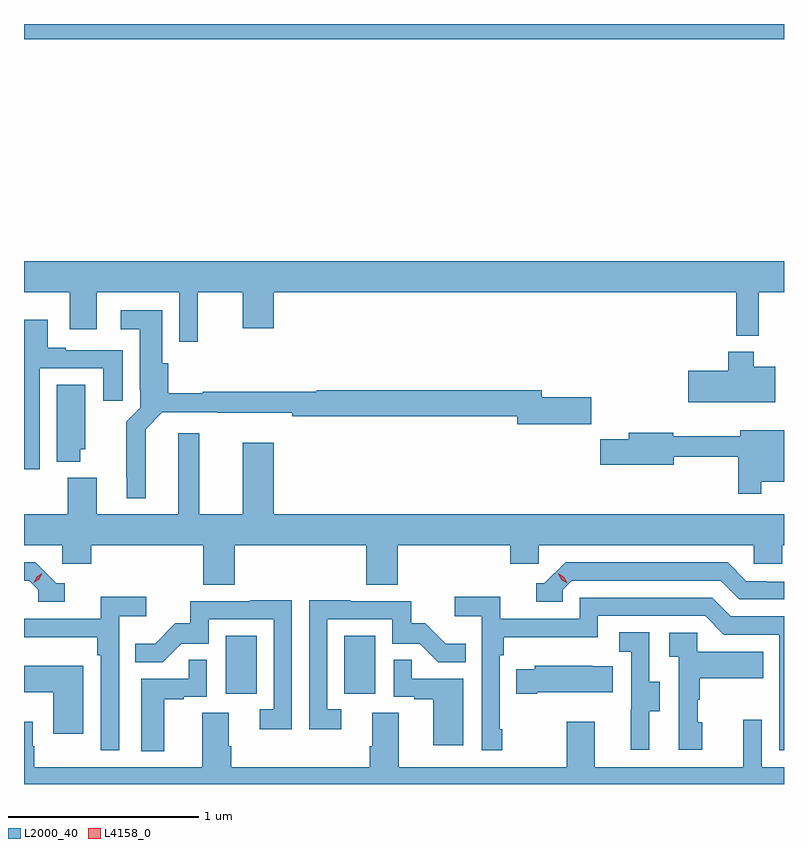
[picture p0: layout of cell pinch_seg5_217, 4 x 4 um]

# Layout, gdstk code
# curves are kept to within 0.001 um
import gdstk
lib = gdstk.Library(unit=1e-6, precision=1e-09)
def R(c, l, rs):  # rectangles x0, y0, x1, y1
    for r in rs: c.add(gdstk.rectangle(r[:2], r[2:], *l))
def P(c, l, *ps):  # polygons
    for p in ps: c.add(gdstk.Polygon(p, *l))
L2000_40 = (2000, 40)
L4158_0 = (4158, 0)

pinch_seg5_217 = lib.new_cell('pinch_seg5_217')
R(pinch_seg5_217, L2000_40, [(980.102,894.606,980.266,894.913), (980.726,894.606,980.89,894.913), (979.041,898.052,983.041,898.132)])
P(pinch_seg5_217, L2000_40, [(979.956,896.72),(980.192,896.72),(980.192,896.532),(980.356,896.532),(980.356,896.72),(982.789,896.72),(982.789,896.492),(982.907,896.492),(982.907,896.72),(983.041,896.72),(983.041,896.884),(979.041,896.884),(979.041,896.72),(979.283,896.72),(979.283,896.526),(979.423,896.526),(979.423,896.72),(979.857,896.72),(979.857,896.46),(979.956,896.46)],
  [(979.681,896),(979.768,896.088),(980.452,896.087),(980.452,896.068),(981.638,896.068),(981.638,896.026),(982.027,896.026),(982.027,896.168),(981.766,896.168),(981.766,896.204),(980.582,896.204),(980.582,896.197),(979.982,896.197),(979.982,896.189),(979.799,896.189),(979.799,896.346),(979.768,896.346),(979.768,896.626),(979.551,896.626),(979.551,896.525),(979.649,896.525),(979.649,896.206),(979.653,896.206),(979.653,896.112),(979.579,896.038),(979.579,895.747),(979.583,895.747),(979.583,895.637),(979.681,895.637)],
  [(979.123,896.319),(979.457,896.319),(979.457,896.148),(979.561,896.148),(979.561,896.415),(979.261,896.415),(979.261,896.428),(979.165,896.428),(979.165,896.575),(979.041,896.575),(979.041,895.788),(979.123,895.788)],
  [(982.996,896.329),(982.882,896.329),(982.882,896.407),(982.748,896.407),(982.748,896.307),(982.536,896.307),(982.536,896.141),(982.996,896.141)],
  [(979.336,895.893),(979.363,895.893),(979.363,896.234),(979.214,896.234),(979.214,895.829),(979.336,895.829)],
  [(982.921,895.724),(983.041,895.724),(983.041,895.993),(982.811,895.993),(982.811,895.963),(982.458,895.963),(982.458,895.982),(982.223,895.982),(982.223,895.946),(982.074,895.946),(982.074,895.811),(982.462,895.811),(982.462,895.854),(982.8,895.854),(982.8,895.659),(982.921,895.659)],
  [(980.15,895.388),(980.843,895.388),(980.843,895.18),(981.008,895.18),(981.008,895.388),(981.599,895.388),(981.599,895.29),(981.75,895.29),(981.75,895.388),(982.881,895.388),(982.881,895.29),(983.031,895.29),(983.031,895.388),(983.041,895.388),(983.041,895.552),(980.356,895.552),(980.356,895.927),(980.192,895.927),(980.192,895.552),(979.963,895.552),(979.963,895.978),(979.853,895.978),(979.853,895.552),(979.423,895.552),(979.423,895.744),(979.271,895.744),(979.271,895.552),(979.041,895.552),(979.041,895.388),(979.242,895.388),(979.242,895.29),(979.394,895.29),(979.394,895.388),(979.985,895.388),(979.985,895.18),(980.15,895.18)],
  [(979.255,895.188),(979.212,895.188),(979.101,895.299),(979.041,895.299),(979.041,895.203),(979.068,895.203),(979.116,895.155),(979.116,895.092),(979.255,895.092)],
  [(981.876,895.155),(981.924,895.203),(982.707,895.203),(982.806,895.104),(983.041,895.104),(983.041,895.197),(982.95,895.197),(982.95,895.2),(982.843,895.2),(982.744,895.299),(981.891,895.299),(981.78,895.188),(981.737,895.188),(981.737,895.092),(981.876,895.092)],
  [(979.542,895.016),(979.684,895.016),(979.684,895.118),(979.445,895.118),(979.445,895.002),(979.041,895.002),(979.041,894.905),(979.426,894.905),(979.426,894.809),(979.446,894.809),(979.446,894.309),(979.542,894.309)],
  [(981.559,894.421),(981.546,894.421),(981.546,894.809),(981.566,894.809),(981.566,894.905),(982.062,894.905),(982.062,895.017),(982.626,895.017),(982.725,894.918),(983.016,894.918),(983.016,894.309),(983.041,894.309),(983.041,895.014),(982.762,895.014),(982.663,895.113),(981.966,895.113),(981.966,895.002),(981.548,895.002),(981.548,895.118),(981.309,895.118),(981.309,895.016),(981.45,895.016),(981.45,894.309),(981.559,894.309)],
  [(980.71,894.525),(980.637,894.525),(980.637,894.999),(980.979,894.999),(980.979,894.87),(981.123,894.87),(981.221,894.772),(981.365,894.772),(981.365,894.871),(981.261,894.871),(981.154,894.978),(981.078,894.978),(981.078,895.095),(980.759,895.095),(980.759,895.1),(980.541,895.1),(980.541,894.42),(980.71,894.42)],
  [(980.451,895.1),(980.233,895.1),(980.233,895.095),(979.915,895.095),(979.915,894.978),(979.838,894.978),(979.731,894.871),(979.627,894.871),(979.627,894.772),(979.77,894.772),(979.868,894.87),(980.013,894.87),(980.013,894.999),(980.355,894.999),(980.355,894.525),(980.283,894.525),(980.283,894.42),(980.451,894.42)],
  [(982.333,894.514),(982.387,894.514),(982.387,894.669),(982.332,894.669),(982.332,894.932),(982.173,894.932),(982.173,894.829),(982.236,894.829),(982.236,894.525),(982.235,894.525),(982.235,894.312),(982.333,894.312)],
  [(982.612,894.456),(982.587,894.456),(982.587,894.575),(982.597,894.575),(982.597,894.689),(982.931,894.689),(982.931,894.829),(982.584,894.829),(982.584,894.927),(982.437,894.927),(982.437,894.803),(982.488,894.803),(982.488,894.312),(982.612,894.312)],
  [(981.352,894.687),(981.083,894.687),(981.083,894.785),(980.988,894.785),(980.988,894.591),(981.095,894.591),(981.095,894.579),(981.194,894.579),(981.194,894.336),(981.352,894.336)],
  [(979.78,894.579),(979.883,894.579),(979.883,894.591),(980.004,894.591),(980.004,894.785),(979.909,894.785),(979.909,894.687),(979.658,894.687),(979.658,894.305),(979.78,894.305)],
  [(979.354,894.754),(979.041,894.754),(979.041,894.614),(979.196,894.614),(979.196,894.396),(979.354,894.396)],
  [(981.742,894.614),(982.139,894.614),(982.139,894.751),(982.031,894.751),(982.031,894.754),(981.729,894.754),(981.729,894.736),(981.631,894.736),(981.631,894.607),(981.742,894.607)],
  [(981.898,894.46),(981.898,894.22),(981.013,894.22),(981.013,894.506),(980.873,894.506),(980.873,894.332),(980.861,894.332),(980.861,894.22),(980.132,894.22),(980.132,894.332),(980.119,894.332),(980.119,894.506),(979.979,894.506),(979.979,894.22),(979.095,894.22),(979.095,894.332),(979.087,894.332),(979.087,894.46),(979.041,894.46),(979.041,894.132),(983.041,894.132),(983.041,894.22),(982.923,894.22),(982.923,894.469),(982.826,894.469),(982.826,894.22),(982.045,894.22),(982.045,894.46)])
P(pinch_seg5_217, L4158_0, [(981.899,895.188),(981.868,895.208),(981.853,895.241),(981.853,895.241),(981.853,895.241),(981.884,895.221),(981.899,895.188),(981.899,895.188)],
  [(979.091,895.19),(979.091,895.191),(979.107,895.223),(979.137,895.242),(979.138,895.242),(979.138,895.242),(979.122,895.209),(979.091,895.19)])

lib.write_gds('pinch_seg5_217.gds')
